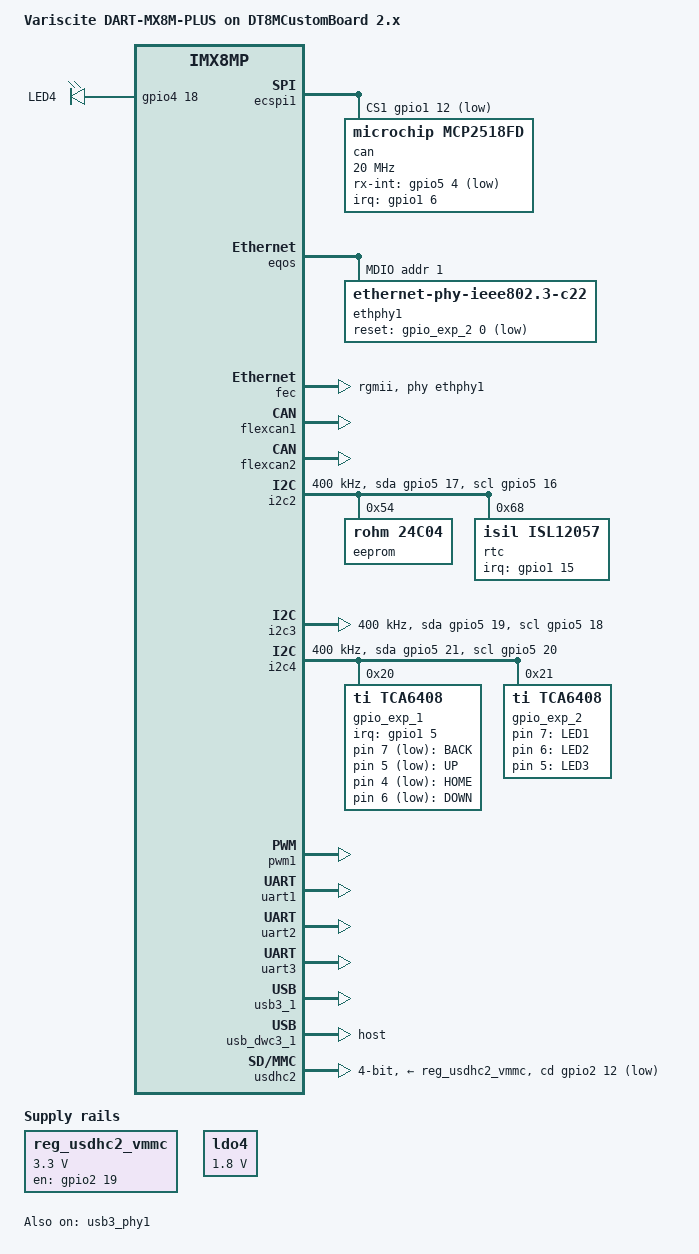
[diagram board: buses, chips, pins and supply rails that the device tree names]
// SPDX-License-Identifier: GPL-2.0-or-later OR MIT
/*
 * Copyright 2019 NXP
 * Copyright 2020-2021 Variscite Ltd.
 * Copyright 2023 Ideas on Board Oy
 */

#include "imx8mp-var-dart.dtsi"

/ {
	compatible = "variscite,dart-mx8mp-dt8mcustomboard-v2",
		     "variscite,dart-mx8mp",
		     "fsl,imx8mp";
	model = "Variscite DART-MX8M-PLUS on DT8MCustomBoard 2.x";

	chosen {
		stdout-path = &uart1;
	};

	clk_can0: clock-can0 {
		compatible = "fixed-clock";
		#clock-cells = <0>;
		clock-frequency = <40000000>;
	};

	gpio-keys {
		compatible = "gpio-keys";

		key-back {
			label = "BACK";
			linux,code = <KEY_BACK>;
			gpios = <&gpio_exp_1 7 GPIO_ACTIVE_LOW>;
			wakeup-source;
		};

		key-up {
			label = "UP";
			linux,code = <KEY_UP>;
			gpios = <&gpio_exp_1 5 GPIO_ACTIVE_LOW>;
			wakeup-source;
		};

		key-home {
			label = "HOME";
			linux,code = <KEY_HOME>;
			gpios = <&gpio_exp_1 4 GPIO_ACTIVE_LOW>;
			wakeup-source;
		};

		key-down {
			label = "DOWN";
			linux,code = <KEY_DOWN>;
			gpios = <&gpio_exp_1 6 GPIO_ACTIVE_LOW>;
			wakeup-source;
		};
	};

	gpio-leds {
		compatible = "gpio-leds";
		pinctrl-names = "default";
		pinctrl-0 = <&pinctrl_gpio_leds>;

		led1 {
			label = "LED1";
			gpios = <&gpio_exp_2 7 GPIO_ACTIVE_HIGH>;
			linux,default-trigger = "heartbeat";
		};

		led2 {
			label = "LED2";
			gpios = <&gpio_exp_2 6 GPIO_ACTIVE_HIGH>;
		};

		led3 {
			label = "LED3";
			gpios = <&gpio_exp_2 5 GPIO_ACTIVE_HIGH>;
		};

		led4 {
			label = "LED4";
			gpios = <&gpio4 18 GPIO_ACTIVE_HIGH>;
			linux,default-trigger = "mmc2";
		};
	};

	reg_usdhc2_vmmc: regulator-usdhc2-vmmc {
		compatible = "regulator-fixed";
		regulator-name = "VSD_3V3";
		regulator-min-microvolt = <3300000>;
		regulator-max-microvolt = <3300000>;
		gpio = <&gpio2 19 GPIO_ACTIVE_HIGH>;
		enable-active-high;
		startup-delay-us = <100>;
		off-on-delay-us = <12000>;
	};
};

&ecspi1 {
	pinctrl-names = "default";
	pinctrl-0 = <&pinctrl_ecspi1>;
	cs-gpios = <&gpio5  9 GPIO_ACTIVE_LOW>,
		   <&gpio1 12 GPIO_ACTIVE_LOW>;
	status = "okay";

	touch@0 {
		compatible = "ti,tsc2046";
		reg = <0>;

		spi-max-frequency = <1500000>;

		pinctrl-names = "default";
		pinctrl-0 = <&pinctrl_restouch>;

		interrupt-parent = <&gpio1>;
		interrupts = <7 IRQ_TYPE_EDGE_FALLING>;

		pendown-gpio = <&gpio1 7 GPIO_ACTIVE_LOW>;
		wakeup-source;

		touchscreen-min-x = <125>;
		touchscreen-min-y = <282>;
		touchscreen-size-x = <4009>;
		touchscreen-size-y = <3865>;
		touchscreen-max-pressure = <255>;
		touchscreen-average-samples = <10>;

		ti,keep-vref-on;
		ti,settle-delay-usec = /bits/ 16 <150>;
		ti,x-plate-ohms = /bits/ 16 <180>;
		ti,debounce-tol = /bits/ 16 <3>;
		ti,debounce-rep = /bits/ 16 <1>;

		status = "disabled";
	};

	can@1 {
		compatible = "microchip,mcp2518fd";
		reg = <1>;

		spi-max-frequency = <20000000>;
		clocks = <&clk_can0>;

		pinctrl-names = "default";
		pinctrl-0 = <&pinctrl_can>;

		interrupt-parent = <&gpio1>;
		interrupts = <6 IRQ_TYPE_LEVEL_LOW>;

		microchip,rx-int-gpios = <&gpio5 4 GPIO_ACTIVE_LOW>;
	};
};

&eqos {
	mdio {
		ethphy1: ethernet-phy@1 {
			compatible = "ethernet-phy-ieee802.3-c22";
			reg = <1>;
			eee-broken-1000t;
			reset-gpios = <&gpio_exp_2 0 GPIO_ACTIVE_LOW>;
			reset-assert-us = <10000>;
			reset-deassert-us = <20000>;
		};
	};
};

&fec {
	pinctrl-names = "default";
	pinctrl-0 = <&pinctrl_fec>;
	phy-mode = "rgmii";
	phy-handle = <&ethphy1>;
	status = "okay";
};

&flexcan1 {
	pinctrl-names = "default";
	pinctrl-0 = <&pinctrl_flexcan1>;
	status = "okay";
};

&flexcan2 {
	pinctrl-names = "default";
	pinctrl-0 = <&pinctrl_flexcan2>;
	status = "okay";
};

&i2c2 {
	clock-frequency = <400000>;
	pinctrl-names = "default", "gpio";
	pinctrl-0 = <&pinctrl_i2c2>;
	pinctrl-1 = <&pinctrl_i2c2_gpio>;
	scl-gpios = <&gpio5 16 (GPIO_ACTIVE_HIGH | GPIO_OPEN_DRAIN)>;
	sda-gpios = <&gpio5 17 (GPIO_ACTIVE_HIGH | GPIO_OPEN_DRAIN)>;
	status = "okay";

	eeprom@54 {
		compatible = "rohm,24c04", "atmel,24c04";
		reg = <0x54>;
		pagesize = <16>;
	};

	rtc@68 {
		compatible = "isil,isl12057";	/* dallas,ds1337 on v3.0 */
		reg = <0x68>;
		pinctrl-names = "default";
		pinctrl-0 = <&pinctrl_rtc>;
		interrupt-parent = <&gpio1>;
		interrupts = <15 IRQ_TYPE_EDGE_FALLING>;
		wakeup-source;
	};
};

&i2c3 {
	clock-frequency = <400000>;
	pinctrl-names = "default", "gpio";
	pinctrl-0 = <&pinctrl_i2c3>;
	pinctrl-1 = <&pinctrl_i2c3_gpio>;
	scl-gpios = <&gpio5 18 (GPIO_ACTIVE_HIGH | GPIO_OPEN_DRAIN)>;
	sda-gpios = <&gpio5 19 (GPIO_ACTIVE_HIGH | GPIO_OPEN_DRAIN)>;
	status = "okay";
};

&i2c4 {
	clock-frequency = <400000>;
	pinctrl-names = "default", "gpio";
	pinctrl-0 = <&pinctrl_i2c4>;
	pinctrl-1 = <&pinctrl_i2c4_gpio>;
	scl-gpios = <&gpio5 20 (GPIO_ACTIVE_HIGH | GPIO_OPEN_DRAIN)>;
	sda-gpios = <&gpio5 21 (GPIO_ACTIVE_HIGH | GPIO_OPEN_DRAIN)>;
	status = "okay";

	gpio_exp_1: gpio@20 {
		compatible = "ti,tca6408";	/* nxp,pcal6408 on v3.0 */
		reg = <0x20>;
		pinctrl-names = "default";
		pinctrl-0 = <&pinctrl_pca6408>;
		interrupt-parent = <&gpio1>;
		interrupts = <5 IRQ_TYPE_EDGE_FALLING>;
		gpio-controller;
		#gpio-cells = <2>;
	};

	gpio_exp_2: gpio@21 {
		compatible = "ti,tca6408";	/* nxp,pcal6408 on v3.0 */
		reg = <0x21>;
		gpio-controller;
		#gpio-cells = <2>;
	};
};

/* Reference voltage for eQOS PHY */
&ldo4 {
	regulator-min-microvolt = <1800000>;
	regulator-max-microvolt = <1800000>;
};

&pwm1 {
	pinctrl-names = "default";
	pinctrl-0 = <&pinctrl_pwm1>;
	status = "okay";
};

/* Console */
&uart1 {
	pinctrl-names = "default";
	pinctrl-0 = <&pinctrl_uart1>;
	status = "okay";
};

/* Header */
&uart2 {
	pinctrl-names = "default";
	pinctrl-0 = <&pinctrl_uart2>;
	status = "okay";
};

/* Header */
&uart3 {
	pinctrl-names = "default";
	pinctrl-0 = <&pinctrl_uart3>;
	status = "okay";
};

&usb3_phy1 {
	status = "okay";
};

&usb3_1 {
	fsl,permanently-attached;
	fsl,disable-port-power-control;
	status = "okay";
};

&usb_dwc3_1 {
	dr_mode = "host";
	status = "okay";
};

/* SD card connector */
&usdhc2 {
	pinctrl-names = "default", "state_100mhz", "state_200mhz";
	pinctrl-0 = <&pinctrl_usdhc2>, <&pinctrl_usdhc2_gpio>;
	pinctrl-1 = <&pinctrl_usdhc2_100mhz>, <&pinctrl_usdhc2_gpio>;
	pinctrl-2 = <&pinctrl_usdhc2_200mhz>, <&pinctrl_usdhc2_gpio>;
	cd-gpios = <&gpio2 12 GPIO_ACTIVE_LOW>;
	vmmc-supply = <&reg_usdhc2_vmmc>;
	bus-width = <4>;
	status = "okay";
};

&iomuxc {
	pinctrl_can: cangrp {
		fsl,pins = <
			MX8MP_IOMUXC_GPIO1_IO06__GPIO1_IO06				0x1c6
			MX8MP_IOMUXC_SPDIF_RX__GPIO5_IO04				0x16
		>;
	};

	pinctrl_ecspi1: ecspi1grp {
		fsl,pins = <
			MX8MP_IOMUXC_ECSPI1_SCLK__ECSPI1_SCLK				0x12
			MX8MP_IOMUXC_ECSPI1_MOSI__ECSPI1_MOSI				0x12
			MX8MP_IOMUXC_ECSPI1_MISO__ECSPI1_MISO				0x12
			MX8MP_IOMUXC_ECSPI1_SS0__GPIO5_IO09				0x12
			MX8MP_IOMUXC_GPIO1_IO12__GPIO1_IO12				0x12
		>;
	};

	pinctrl_fec: fecgrp {
		fsl,pins = <
			MX8MP_IOMUXC_SAI1_RXD4__ENET1_RGMII_RD0				0x90
			MX8MP_IOMUXC_SAI1_RXD5__ENET1_RGMII_RD1				0x90
			MX8MP_IOMUXC_SAI1_RXD6__ENET1_RGMII_RD2				0x90
			MX8MP_IOMUXC_SAI1_RXD7__ENET1_RGMII_RD3				0x90
			MX8MP_IOMUXC_SAI1_TXC__ENET1_RGMII_RXC				0x90
			MX8MP_IOMUXC_SAI1_TXFS__ENET1_RGMII_RX_CTL			0x90
			MX8MP_IOMUXC_SAI1_TXD0__ENET1_RGMII_TD0				0x00
			MX8MP_IOMUXC_SAI1_TXD1__ENET1_RGMII_TD1				0x00
			MX8MP_IOMUXC_SAI1_TXD2__ENET1_RGMII_TD2				0x00
			MX8MP_IOMUXC_SAI1_TXD3__ENET1_RGMII_TD3				0x00
			MX8MP_IOMUXC_SAI1_TXD4__ENET1_RGMII_TX_CTL			0x00
			MX8MP_IOMUXC_SAI1_TXD5__ENET1_RGMII_TXC				0x00
		>;
	};

	pinctrl_flexcan1: flexcan1grp {
		fsl,pins = <
			MX8MP_IOMUXC_SAI2_RXC__CAN1_TX					0x154
			MX8MP_IOMUXC_SAI2_TXC__CAN1_RX					0x154
		>;
	};

	pinctrl_flexcan2: flexcan2grp {
		fsl,pins = <
			MX8MP_IOMUXC_SAI2_MCLK__CAN2_RX					0x154
			MX8MP_IOMUXC_SAI2_TXD0__CAN2_TX					0x154
		>;
	};

	pinctrl_gpio_leds: ledgrp {
		fsl,pins = <
			MX8MP_IOMUXC_SAI1_TXD6__GPIO4_IO18				0xc6
		>;
	};

	pinctrl_i2c2: i2c2grp {
		fsl,pins = <
			MX8MP_IOMUXC_I2C2_SCL__I2C2_SCL					0x400001c2
			MX8MP_IOMUXC_I2C2_SDA__I2C2_SDA					0x400001c2
		>;
	};

	pinctrl_i2c3: i2c3grp {
		fsl,pins = <
			MX8MP_IOMUXC_I2C3_SCL__I2C3_SCL					0x400001c2
			MX8MP_IOMUXC_I2C3_SDA__I2C3_SDA					0x400001c2
		>;
	};

	pinctrl_i2c4: i2c4grp {
		fsl,pins = <
			MX8MP_IOMUXC_I2C4_SCL__I2C4_SCL					0x400001c2
			MX8MP_IOMUXC_I2C4_SDA__I2C4_SDA					0x400001c2
		>;
	};

	pinctrl_i2c2_gpio: i2c2gpiogrp {
		fsl,pins = <
			MX8MP_IOMUXC_I2C2_SCL__GPIO5_IO16				0x1c2
			MX8MP_IOMUXC_I2C2_SDA__GPIO5_IO17				0x1c2
		>;
	};

	pinctrl_i2c3_gpio: i2c3gpiogrp {
		fsl,pins = <
			MX8MP_IOMUXC_I2C3_SCL__GPIO5_IO18				0x1c2
			MX8MP_IOMUXC_I2C3_SDA__GPIO5_IO19				0x1c2
		>;
	};

	pinctrl_i2c4_gpio: i2c4gpiogrp {
		fsl,pins = <
			MX8MP_IOMUXC_I2C4_SCL__GPIO5_IO20				0x1c2
			MX8MP_IOMUXC_I2C4_SDA__GPIO5_IO21				0x1c2
		>;
	};

	pinctrl_pca6408: pca6408grp {
		fsl,pins = <
			MX8MP_IOMUXC_GPIO1_IO05__GPIO1_IO05				0x1c6
		>;
	};

	pinctrl_pwm1: pwm1grp {
		fsl,pins = <
			MX8MP_IOMUXC_GPIO1_IO01__PWM1_OUT				0x116
		>;
	};

	pinctrl_restouch: restouchgrp {
		fsl,pins = <
			MX8MP_IOMUXC_GPIO1_IO07__GPIO1_IO07				0xc0
		>;
	};

	pinctrl_rtc: rtcgrp {
		fsl,pins = <
			MX8MP_IOMUXC_GPIO1_IO15__GPIO1_IO15				0x1c0
		>;
	};

	pinctrl_uart1: uart1grp {
		fsl,pins = <
			MX8MP_IOMUXC_UART1_RXD__UART1_DCE_RX				0x40
			MX8MP_IOMUXC_UART1_TXD__UART1_DCE_TX				0x40
		>;
	};

	pinctrl_uart2: uart2grp {
		fsl,pins = <
			MX8MP_IOMUXC_UART2_RXD__UART2_DCE_RX				0x40
			MX8MP_IOMUXC_UART2_TXD__UART2_DCE_TX				0x40
		>;
	};

	pinctrl_uart3: uart3grp {
		fsl,pins = <
			MX8MP_IOMUXC_UART3_RXD__UART3_DCE_RX				0x40
			MX8MP_IOMUXC_UART3_TXD__UART3_DCE_TX				0x40
		>;
	};

	pinctrl_usb0: usb0grp {
		fsl,pins = <
			MX8MP_IOMUXC_GPIO1_IO13__USB1_OTG_OC				0x1c0
		>;
	};

	pinctrl_usdhc2_gpio: usdhc2-gpiogrp {
		fsl,pins = <
			MX8MP_IOMUXC_SD2_CD_B__GPIO2_IO12				0x1c4
			MX8MP_IOMUXC_SD2_RESET_B__GPIO2_IO19				0x40
		>;
	};

	pinctrl_usdhc2: usdhc2grp {
		fsl,pins = <
			MX8MP_IOMUXC_SD2_CLK__USDHC2_CLK				0x190
			MX8MP_IOMUXC_SD2_CMD__USDHC2_CMD				0x1d0
			MX8MP_IOMUXC_SD2_DATA0__USDHC2_DATA0				0x1d0
			MX8MP_IOMUXC_SD2_DATA1__USDHC2_DATA1				0x1d0
			MX8MP_IOMUXC_SD2_DATA2__USDHC2_DATA2				0x1d0
			MX8MP_IOMUXC_SD2_DATA3__USDHC2_DATA3				0x1d0
			MX8MP_IOMUXC_GPIO1_IO04__USDHC2_VSELECT				0xc0
		>;
	};

	pinctrl_usdhc2_100mhz: usdhc2-100mhzgrp {
		fsl,pins = <
			MX8MP_IOMUXC_SD2_CLK__USDHC2_CLK				0x194
			MX8MP_IOMUXC_SD2_CMD__USDHC2_CMD				0x1d4
			MX8MP_IOMUXC_SD2_DATA0__USDHC2_DATA0				0x1d4
			MX8MP_IOMUXC_SD2_DATA1__USDHC2_DATA1				0x1d4
			MX8MP_IOMUXC_SD2_DATA2__USDHC2_DATA2				0x1d4
			MX8MP_IOMUXC_SD2_DATA3__USDHC2_DATA3				0x1d4
			MX8MP_IOMUXC_GPIO1_IO04__USDHC2_VSELECT				0xc0
		>;
	};

	pinctrl_usdhc2_200mhz: usdhc2-200mhzgrp {
		fsl,pins = <
			MX8MP_IOMUXC_SD2_CLK__USDHC2_CLK				0x196
			MX8MP_IOMUXC_SD2_CMD__USDHC2_CMD				0x1d6
			MX8MP_IOMUXC_SD2_DATA0__USDHC2_DATA0				0x1d6
			MX8MP_IOMUXC_SD2_DATA1__USDHC2_DATA1				0x1d6
			MX8MP_IOMUXC_SD2_DATA2__USDHC2_DATA2				0x1d6
			MX8MP_IOMUXC_SD2_DATA3__USDHC2_DATA3				0x1d6
			MX8MP_IOMUXC_GPIO1_IO04__USDHC2_VSELECT				0xc0
		>;
	};
};
